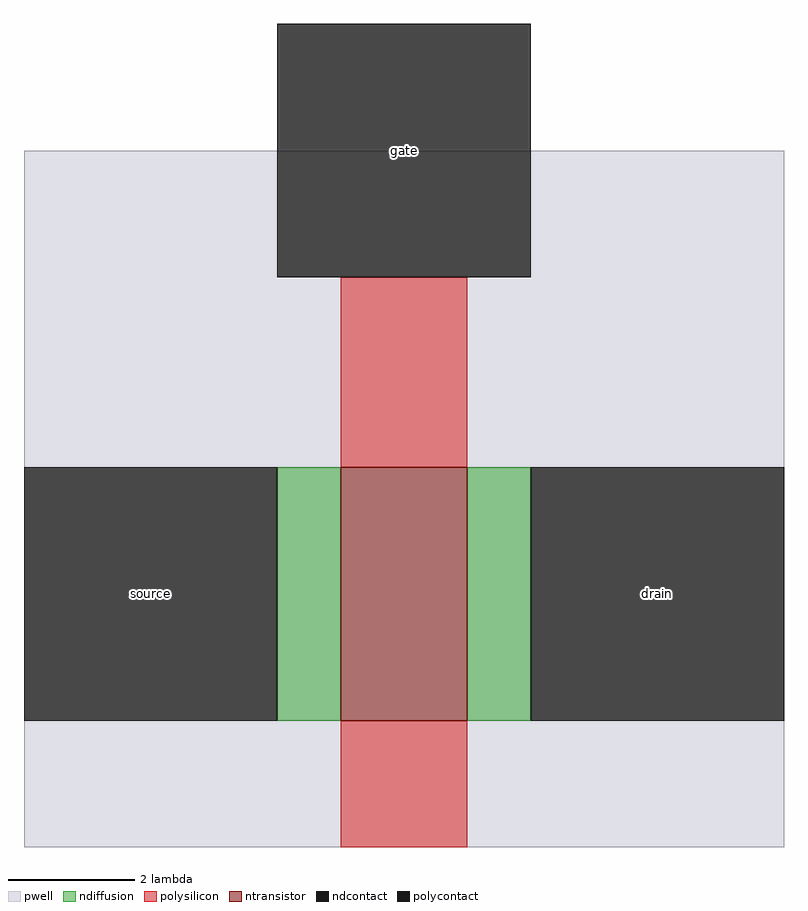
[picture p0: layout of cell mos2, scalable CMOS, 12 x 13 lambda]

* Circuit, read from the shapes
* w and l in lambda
.subckt mos2 drain gate source
M1 drain gate source VSUBS nfet w=4 l=2
.ends

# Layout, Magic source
magic
tech scmos
<< pwell >>
rect -1 -26 11 -15
<< polysilicon >>
rect 4 -20 6 -17
rect 4 -26 6 -24
<< ndiffusion >>
rect 3 -24 4 -20
rect 6 -24 7 -20
<< ntransistor >>
rect 4 -24 6 -20
<< polycontact >>
rect 3 -17 7 -13
<< ndcontact >>
rect -1 -24 3 -20
rect 7 -24 11 -20
<< labels >>
rlabel ndcontact -1 -24 3 -20 2 source
rlabel ndcontact 7 -24 11 -20 1 drain
rlabel polycontact 3 -17 7 -13 1 gate
<< end >>
